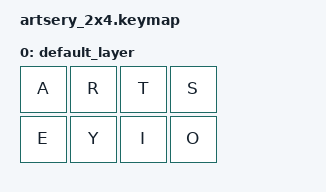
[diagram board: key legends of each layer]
/*
 * Copyright (c) 2020 The ZMK Contributors
 *
 * SPDX-License-Identifier: MIT
 */

#include <behaviors.dtsi>
#include <dt-bindings/zmk/keys.h>
#include <dt-bindings/zmk/bt.h>

/ {
    keymap {
        compatible = "zmk,keymap";

        default_layer {
            bindings = <
&kp A   &kp R  &kp T  &kp S
&kp E   &kp Y  &kp I  &kp O
            >;
        };
    };
};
